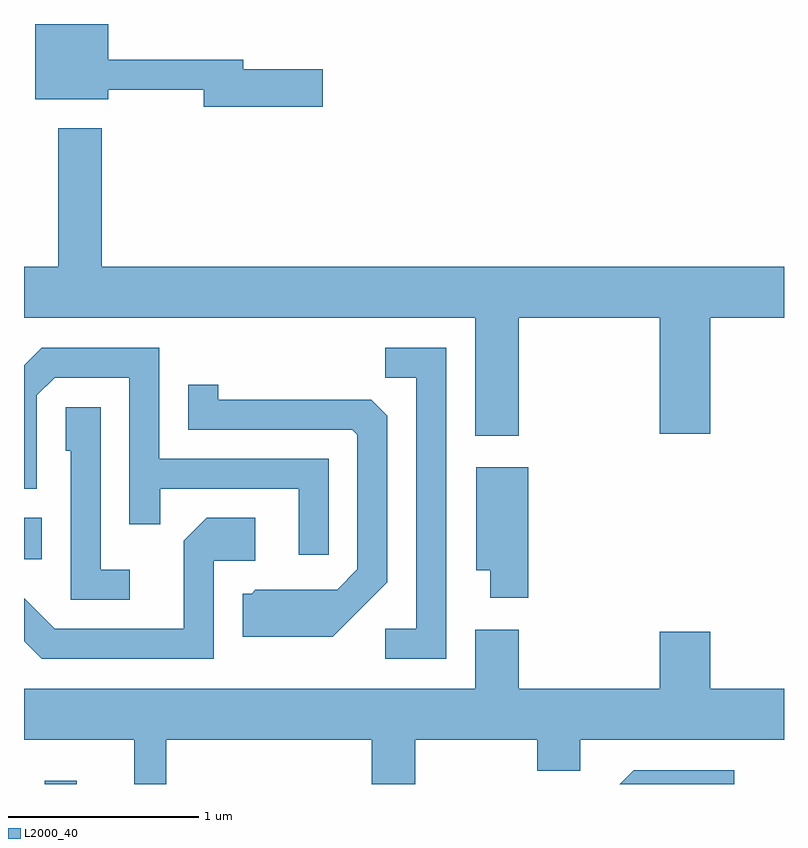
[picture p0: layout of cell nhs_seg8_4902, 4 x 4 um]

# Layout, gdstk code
import gdstk
lib = gdstk.Library(unit=1e-6, precision=1e-09)
def R(c, l, rs):  # rectangles x0, y0, x1, y1
    for r in rs: c.add(gdstk.rectangle(r[:2], r[2:], *l))
def P(c, l, *ps):  # polygons
    for p in ps: c.add(gdstk.Polygon(p, *l))
L2000_40 = (2000, 40)

nhs_seg8_4902 = lib.new_cell('nhs_seg8_4902')
R(nhs_seg8_4902, L2000_40, [(331.721,1898.342,331.889,1898.358), (331.611,1899.526,331.704,1899.744)])
P(nhs_seg8_4902, L2000_40, [(333.184,1902.104),(332.764,1902.104),(332.764,1902.154),(332.054,1902.154),(332.054,1902.342),(331.671,1902.342),(331.671,1901.946),(332.054,1901.946),(332.054,1901.996),(332.556,1901.996),(332.556,1901.906),(333.184,1901.906)],
  [(334.214,1900.796),(334.956,1900.796),(334.956,1900.186),(335.224,1900.186),(335.224,1900.796),(335.611,1900.796),(335.611,1901.064),(332.019,1901.064),(332.019,1901.794),(331.791,1901.794),(331.791,1901.064),(331.611,1901.064),(331.611,1900.796),(333.986,1900.796),(333.986,1900.176),(334.214,1900.176)],
  [(333.834,1900.639),(333.513,1900.639),(333.513,1900.481),(333.676,1900.481),(333.676,1899.159),(333.513,1899.159),(333.513,1899.001),(333.834,1899.001)],
  [(333.214,1900.054),(332.324,1900.054),(332.324,1900.639),(331.704,1900.639),(331.611,1900.546),(331.611,1899.896),(331.679,1899.896),(331.679,1900.389),(331.772,1900.481),(332.166,1900.481),(332.166,1899.708),(332.329,1899.708),(332.329,1899.896),(333.056,1899.896),(333.056,1899.548),(333.214,1899.548)],
  [(333.524,1899.404),(333.524,1900.279),(333.439,1900.364),(332.634,1900.364),(332.634,1900.443),(332.476,1900.443),(332.476,1900.206),(333.339,1900.206),(333.366,1900.179),(333.366,1899.472),(333.259,1899.364),(332.829,1899.364),(332.809,1899.344),(332.761,1899.344),(332.761,1899.116),(333.237,1899.116)],
  [(332.168,1899.469),(332.014,1899.469),(332.014,1900.324),(331.831,1900.324),(331.831,1900.096),(331.856,1900.096),(331.856,1899.311),(332.168,1899.311)],
  [(334.264,1900.009),(333.991,1900.009),(333.991,1899.466),(334.066,1899.466),(334.066,1899.321),(334.264,1899.321)],
  [(332.609,1899.516),(332.829,1899.516),(332.829,1899.744),(332.574,1899.744),(332.451,1899.622),(332.451,1899.159),(331.772,1899.159),(331.611,1899.32),(331.611,1899.094),(331.704,1899.001),(332.609,1899.001)],
  [(332.359,1898.576),(333.441,1898.576),(333.441,1898.342),(333.669,1898.342),(333.669,1898.576),(334.311,1898.576),(334.311,1898.411),(334.539,1898.411),(334.539,1898.576),(335.611,1898.576),(335.611,1898.844),(335.224,1898.844),(335.224,1899.144),(334.956,1899.144),(334.956,1898.844),(334.214,1898.844),(334.214,1899.154),(333.986,1899.154),(333.986,1898.844),(331.611,1898.844),(331.611,1898.576),(332.191,1898.576),(332.191,1898.342),(332.359,1898.342)],
  [(335.348,1898.414),(334.819,1898.414),(334.747,1898.342),(335.348,1898.342)])

lib.write_gds('nhs_seg8_4902.gds')
